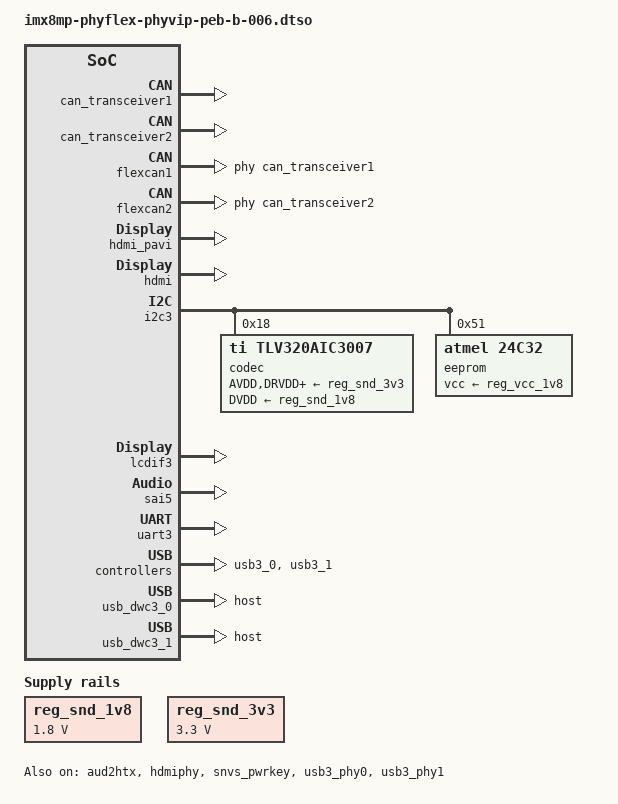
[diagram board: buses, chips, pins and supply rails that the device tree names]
// SPDX-License-Identifier: (GPL-2.0-or-later OR MIT)
/*
 * Copyright (C) 2026 PHYTEC Messtechnik GmbH
 */

/dts-v1/;
/plugin/;

#include "imx8mp-pinfunc.h"

&{/} {
	can_transceiver1: can-phy1 {
		compatible = "ti,tcan1043";
		#phy-cells = <0>;
		max-bitrate = <8000000>;
	};

	can_transceiver2: can-phy2 {
		compatible = "ti,tcan1043";
		#phy-cells = <0>;
		max-bitrate = <8000000>;
	};

	clk_snd: clock-sound {
		compatible = "fixed-clock";
		#clock-cells = <0>;
		clock-frequency = <19200000>;
	};

	reg_snd_1v8: regulator-1v8 {
		compatible = "regulator-fixed";
		regulator-max-microvolt = <1800000>;
		regulator-min-microvolt = <1800000>;
		regulator-name = "VCC-1V8-AUDIO";
	};

	reg_snd_3v3: regulator-3v3 {
		compatible = "regulator-fixed";
		regulator-max-microvolt = <3300000>;
		regulator-min-microvolt = <3300000>;
		regulator-name = "VCC-3V3-AUDIO";
	};

	sound-hdmi {
		compatible = "fsl,imx-audio-hdmi";
		model = "audio-hdmi";
		audio-cpu = <&aud2htx>;
		hdmi-out;
	};

	sound-peb-b-006 {
		compatible = "simple-audio-card";
		simple-audio-card,name = "snd-peb-b-006";
		simple-audio-card,format = "i2s";
		simple-audio-card,bitclock-master = <&dailink_master>;
		simple-audio-card,frame-master = <&dailink_master>;
		simple-audio-card,widgets =
			"Speaker", "Speaker X16",
			"Microphone", "Microphone X17",
			"Headphone", "Amplifier X18";
		simple-audio-card,routing =
			"Speaker X16", "SPOP",
			"Speaker X16", "SPOM",
			"Amplifier X18", "HPLOUT",
			"MIC3L", "Microphone X17",
			"Microphone X17", "Mic Bias";

		simple-audio-card,cpu {
			sound-dai = <&sai5>;
		};

		dailink_master: simple-audio-card,codec {
			sound-dai = <&codec>;
			clocks = <&clk_snd>;
		};
	};
};

/* HDMI Audio */
&aud2htx {
	status = "okay";
};

/* CAN FD */
&flexcan1 {
	phys = <&can_transceiver1>;
	status = "okay";
};

&flexcan2 {
	phys = <&can_transceiver2>;
	status = "okay";
};

&gpio4 {
	gpio-line-names = "GPIO6", "RGMII2_nINT", "GPIO7", "GPIO4", "",
			  "", "", "", "", "",
			  "", "", "", "", "",
			  "", "", "", "X_PMIC_IRQ_B", "",
			  "", "GPIO5", "", "", "RGMII2_EVENT_OUT",
			  "", "", "RGMII2_EVENT_IN", "", "CODEC_GPIO1";
};

/* HDMI */
&hdmi_pavi {
	status = "okay";
};

&hdmi {
	status = "okay";
};

&hdmiphy {
	status = "okay";
};

/* CSI1 I2C */
&i2c3 {
	#address-cells = <1>;
	#size-cells = <0>;

	/* Audio codec */
	codec: codec@18 {
		compatible = "ti,tlv320aic3007";
		reg = <0x18>;
		#sound-dai-cells = <0>;
		ai3x-gpio-func = <0xf 0x0>;
		ai3x-micbias-vg = <2>;
		AVDD-supply = <&reg_snd_3v3>;
		DRVDD-supply = <&reg_snd_3v3>;
		DVDD-supply = <&reg_snd_1v8>;
		IOVDD-supply = <&reg_snd_3v3>;
	};

	/* Factory EEPROM */
	eeprom@51 {
		compatible = "atmel,24c32";
		reg = <0x51>;
		pagesize = <32>;
		vcc-supply = <&reg_vcc_1v8>;
	};
};

/* Needed for HDMI */
&lcdif3 {
	status = "okay";
};

/* RTC Backup */
&rv3028 {
	aux-voltage-chargeable = <1>;
	trickle-resistor-ohms = <3000>;
};

/* Audio */
&sai5 {
	status = "okay";
};

/* Needed for HDMI */
&sdma2 {
	status = "okay";
};

/* ON/OFF */
&snvs_pwrkey {
	status = "okay";
};

/* RS485 */
&uart3 {
	uart-has-rtscts;
	status = "okay";
};

/* USB1 Type-C */
&usb3_phy0 {
	vbus-supply = <&reg_vcc_5v>;
	status = "okay";
};

&usb3_0 {
	fsl,over-current-active-low;
	status = "okay";
};

&usb_dwc3_0 {
	dr_mode = "host";
	status = "okay";
};

/* USB2 USB2.0 */
&usb3_phy1 {
	vbus-supply = <&reg_vcc_5v>;
	status = "okay";
};

&usb3_1 {
	fsl,over-current-active-low;
	status = "okay";
};

&usb_dwc3_1 {
	dr_mode = "host";
	status = "okay";
};

&iomuxc {
	/* FPSC pinctrl_sai5 override; configure for PEB-B-006 codec usage */
	pinctrl_sai5: sai5grp {
		fsl,pins = <
			MX8MP_IOMUXC_SAI3_RXC__GPIO4_IO29		0x106	/* CODEC_GPIO1 */
			MX8MP_IOMUXC_SAI3_RXD__AUDIOMIX_SAI5_RX_DATA00	0x106	/* SAI1_RX_DATA */
			MX8MP_IOMUXC_SAI5_RXD1__AUDIOMIX_SAI5_TX_SYNC	0x106	/* SAI1_TX_SYNC */
			MX8MP_IOMUXC_SAI5_RXD2__AUDIOMIX_SAI5_TX_BCLK	0x106	/* SAI1_TX_BCLK */
			MX8MP_IOMUXC_SAI2_RXD0__AUDIOMIX_SAI5_TX_DATA00	0x106	/* SAI1_TX_DATA */
		>;
	};

	/* FPSC pinctrl_uart3 override; disable pull-up on RTS line */
	pinctrl_uart3: uart3grp {
		fsl,pins = <
			MX8MP_IOMUXC_SD1_DATA6__UART3_DTE_RX	0x140	/* UART1_RXD */
			MX8MP_IOMUXC_SD1_DATA7__UART3_DTE_TX	0x140	/* UART1_TXD */
			MX8MP_IOMUXC_SD1_STROBE__UART3_DTE_RTS	0x40	/* UART1_RTS */
			MX8MP_IOMUXC_SD1_RESET_B__UART3_DTE_CTS	0x140	/* UART1_CTS */
		>;
	};
};
